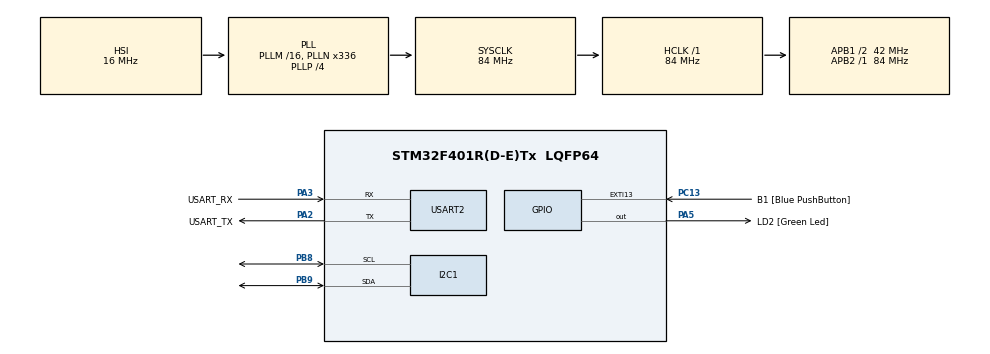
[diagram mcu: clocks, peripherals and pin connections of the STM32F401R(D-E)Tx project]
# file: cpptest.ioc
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Mcu.Family=STM32F4
Mcu.Name=STM32F401R(D-E)Tx
Mcu.Package=LQFP64
NVIC.PriorityGroup=NVIC_PRIORITYGROUP_0
PA13.GPIO_Label=TMS
PA13.Mode=Serial_Wire
PA13.Signal=SYS_JTMS-SWDIO
PA14.GPIO_Label=TCK
PA14.Mode=Serial_Wire
PA14.Signal=SYS_JTCK-SWCLK
PA2.GPIO_Label=USART_TX
PA2.GPIO_Mode=GPIO_MODE_AF_PP
PA2.GPIO_PuPd=GPIO_NOPULL
PA2.GPIO_Speed=GPIO_SPEED_FREQ_LOW
PA2.Mode=Asynchronous
PA2.Signal=USART2_TX
PA3.GPIO_Label=USART_RX
PA3.GPIO_Mode=GPIO_MODE_AF_PP
PA3.GPIO_PuPd=GPIO_NOPULL
PA3.GPIO_Speed=GPIO_SPEED_FREQ_LOW
PA3.Mode=Asynchronous
PA3.Signal=USART2_RX
PA5.GPIO_Label=LD2 [Green Led]
PA5.GPIO_Mode=GPIO_MODE_OUTPUT_PP
PA5.GPIO_PuPd=GPIO_NOPULL
PA5.GPIO_Speed=GPIO_SPEED_FREQ_LOW
PA5.Signal=GPIO_Output
PB3.GPIO_Label=SWO
PB3.Signal=SYS_JTDO-SWO
PB8.Mode=I2C
PB8.Signal=I2C1_SCL
PB9.Mode=I2C
PB9.Signal=I2C1_SDA
PC13-ANTI_TAMP.GPIO_Label=B1 [Blue PushButton]
PC13-ANTI_TAMP.GPIO_ModeDefaultEXTI=GPIO_MODE_IT_FALLING
PC13-ANTI_TAMP.GPIO_PuPd=GPIO_NOPULL
PC13-ANTI_TAMP.Signal=GPXTI13
PC14-OSC32_IN.Mode=LSE-External-Oscillator
PC14-OSC32_IN.Signal=RCC_OSC32_IN
PC15-OSC32_OUT.Mode=LSE-External-Oscillator
PC15-OSC32_OUT.Signal=RCC_OSC32_OUT
PH0\ -\ OSC_IN.Mode=HSE-External-Clock-Source
PH0\ -\ OSC_IN.Signal=RCC_OSC_IN
PH1\ -\ OSC_OUT.Mode=HSE-External-Clock-Source
PH1\ -\ OSC_OUT.Signal=RCC_OSC_OUT
ProjectManager.HeapSize=0x200
ProjectManager.StackSize=0x400
ProjectManager.TargetToolchain=STM32CubeIDE
RCC.48MHZClocksFreq_Value=48000000
RCC.AHBFreq_Value=84000000
RCC.APB1CLKDivider=RCC_HCLK_DIV2
RCC.APB1Freq_Value=42000000
RCC.APB1TimFreq_Value=84000000
RCC.APB2Freq_Value=84000000
RCC.APB2TimFreq_Value=84000000
RCC.CortexFreq_Value=84000000
RCC.HCLKFreq_Value=84000000
RCC.HSE_VALUE=8000000
RCC.HSI_VALUE=16000000
RCC.PLLN=336
RCC.PLLP=RCC_PLLP_DIV4
RCC.PLLQ=7
RCC.SYSCLKFreq_VALUE=84000000
RCC.SYSCLKSource=RCC_SYSCLKSOURCE_PLLCLK
RCC.VCOOutputFreq_Value=336000000
USART2.VirtualMode=VM_ASYNC
board=NUCLEO-F401RE

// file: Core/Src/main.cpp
/* USER CODE BEGIN Header */
/**
  ******************************************************************************
  * @file           : main.c
  * @brief          : Main program body
  ******************************************************************************
  * @attention
  *
  * <h2><center>&copy; Copyright (c) 2020 STMicroelectronics.
  * All rights reserved.</center></h2>
  *
  * This software component is licensed by ST under BSD 3-Clause license,
  * the "License"; You may not use this file except in compliance with the
  * License. You may obtain a copy of the License at:
  *                        opensource.org/licenses/BSD-3-Clause
  *
  ******************************************************************************
  */
/* USER CODE END Header */

#include "main.h"

/* USER CODE BEGIN Includes */
#include "ads1115.h"
#include "I2C.h"
#include <stdio.h> //printf
#include "retarget.h"
/* USER CODE END Includes */

I2C_HandleTypeDef hi2c1;

UART_HandleTypeDef huart2;

/* USER CODE BEGIN PV */
int nLoop=0;
/* USER CODE END PV */

void SystemClock_Config(void);
static void MX_GPIO_Init(void);
static void MX_USART2_UART_Init(void);
static void MX_I2C1_Init(void);

/* USER CODE BEGIN 0 */
//Printf function
/*
int _write(int fd, char *data, int len) {
	HAL_UART_Transmit(&huart2, (uint8_t *) data, len, 0xffff);
    return len;
}
*/

/* USER CODE END 0 */

int main(void)
{

  /* MCU Configuration--------------------------------------------------------*/

  /* Reset of all peripherals, Initializes the Flash interface and the Systick. */
  HAL_Init();

  /* Configure the system clock */
  SystemClock_Config();

  /* Initialize all configured peripherals */
  MX_GPIO_Init();
  MX_USART2_UART_Init();
  MX_I2C1_Init();
  /* USER CODE BEGIN 2 */
  //RetargetInit(&huart2);
  //INITIALIZE I2C PROTOCOL
  I2C i2c;
  i2c.I2C_Init(&hi2c1);

  ads1115 ads;
  adsConfig ch1, ch2, ch3, ch4;

  ch1.COMP_MODE = CONVNONE;
  ch1.GAIN_MODE = PGA4;
  ch1.OP_MODE = CONTMOD;
  ch1.OS_MODE = BEGIN;
  ch1.RATE_MODE = SPS32;

  //ads.ads1115_data(1,ch1);
  /* USER CODE END 2 */

  /* Infinite loop */
  /* USER CODE BEGIN WHILE */
  while (1)
  {
	 /* float FS = 1.024;
	  std::cout << "main function\n";
	  uint16_t out1 = ads.ads1115_data(1,ch1);
	  float S1 = out1;
	  float acmpt = FS/S1;
	  printf("%E mV", acmpt * 1000);
	  printf("\r\n");*/

	  //printf ("Characters: %c %c \n", 'a', 65);

	  uint16_t out1;
	  out1 = ads.ads1115_data(1,ch1);

	  float FS = 1.024;
	  float ch0 = out1;
	  float read0 = FS/ch0;

	    //HAL_GPIO_TogglePin(GPIOA, GPIO_PIN_5); // PORTA, Pin PA5
	    //HAL_Delay(500);
	    nLoop++;
	    printf("nLoop == %d \n\r", nLoop);

	  HAL_Delay(1000);
    /* USER CODE END WHILE */

  }
}

void SystemClock_Config(void)
{
  RCC_OscInitTypeDef RCC_OscInitStruct = {0};
  RCC_ClkInitTypeDef RCC_ClkInitStruct = {0};

  /** Configure the main internal regulator output voltage
  */
  __HAL_RCC_PWR_CLK_ENABLE();
  __HAL_PWR_VOLTAGESCALING_CONFIG(PWR_REGULATOR_VOLTAGE_SCALE2);
  /** Initializes the CPU, AHB and APB busses clocks
  */
  RCC_OscInitStruct.OscillatorType = RCC_OSCILLATORTYPE_HSI;
  RCC_OscInitStruct.HSIState = RCC_HSI_ON;
  RCC_OscInitStruct.HSICalibrationValue = RCC_HSICALIBRATION_DEFAULT;
  RCC_OscInitStruct.PLL.PLLState = RCC_PLL_ON;
  RCC_OscInitStruct.PLL.PLLSource = RCC_PLLSOURCE_HSI;
  RCC_OscInitStruct.PLL.PLLM = 16;
  RCC_OscInitStruct.PLL.PLLN = 336;
  RCC_OscInitStruct.PLL.PLLP = RCC_PLLP_DIV4;
  RCC_OscInitStruct.PLL.PLLQ = 7;
  if (HAL_RCC_OscConfig(&RCC_OscInitStruct) != HAL_OK)
  {
    Error_Handler();
  }
  /** Initializes the CPU, AHB and APB busses clocks
  */
  RCC_ClkInitStruct.ClockType = RCC_CLOCKTYPE_HCLK|RCC_CLOCKTYPE_SYSCLK
                              |RCC_CLOCKTYPE_PCLK1|RCC_CLOCKTYPE_PCLK2;
  RCC_ClkInitStruct.SYSCLKSource = RCC_SYSCLKSOURCE_PLLCLK;
  RCC_ClkInitStruct.AHBCLKDivider = RCC_SYSCLK_DIV1;
  RCC_ClkInitStruct.APB1CLKDivider = RCC_HCLK_DIV2;
  RCC_ClkInitStruct.APB2CLKDivider = RCC_HCLK_DIV1;

  if (HAL_RCC_ClockConfig(&RCC_ClkInitStruct, FLASH_LATENCY_2) != HAL_OK)
  {
    Error_Handler();
  }
}

static void MX_I2C1_Init(void)
{

  hi2c1.Instance = I2C1;
  hi2c1.Init.ClockSpeed = 100000;
  hi2c1.Init.DutyCycle = I2C_DUTYCYCLE_2;
  hi2c1.Init.OwnAddress1 = 0;
  hi2c1.Init.AddressingMode = I2C_ADDRESSINGMODE_7BIT;
  hi2c1.Init.DualAddressMode = I2C_DUALADDRESS_DISABLE;
  hi2c1.Init.OwnAddress2 = 0;
  hi2c1.Init.GeneralCallMode = I2C_GENERALCALL_DISABLE;
  hi2c1.Init.NoStretchMode = I2C_NOSTRETCH_DISABLE;
  if (HAL_I2C_Init(&hi2c1) != HAL_OK)
  {
    Error_Handler();
  }

}

static void MX_USART2_UART_Init(void)
{

  huart2.Instance = USART2;
  huart2.Init.BaudRate = 115200;
  huart2.Init.WordLength = UART_WORDLENGTH_8B;
  huart2.Init.StopBits = UART_STOPBITS_1;
  huart2.Init.Parity = UART_PARITY_NONE;
  huart2.Init.Mode = UART_MODE_TX_RX;
  huart2.Init.HwFlowCtl = UART_HWCONTROL_NONE;
  huart2.Init.OverSampling = UART_OVERSAMPLING_16;
  if (HAL_UART_Init(&huart2) != HAL_OK)
  {
    Error_Handler();
  }

}

static void MX_GPIO_Init(void)
{
  GPIO_InitTypeDef GPIO_InitStruct = {0};

  /* GPIO Ports Clock Enable */
  __HAL_RCC_GPIOC_CLK_ENABLE();
  __HAL_RCC_GPIOH_CLK_ENABLE();
  __HAL_RCC_GPIOA_CLK_ENABLE();
  __HAL_RCC_GPIOB_CLK_ENABLE();

  /*Configure GPIO pin Output Level */
  HAL_GPIO_WritePin(LD2_GPIO_Port, LD2_Pin, GPIO_PIN_RESET);

  /*Configure GPIO pin : B1_Pin */
  GPIO_InitStruct.Pin = B1_Pin;
  GPIO_InitStruct.Mode = GPIO_MODE_IT_FALLING;
  GPIO_InitStruct.Pull = GPIO_NOPULL;
  HAL_GPIO_Init(B1_GPIO_Port, &GPIO_InitStruct);

  /*Configure GPIO pin : LD2_Pin */
  GPIO_InitStruct.Pin = LD2_Pin;
  GPIO_InitStruct.Mode = GPIO_MODE_OUTPUT_PP;
  GPIO_InitStruct.Pull = GPIO_NOPULL;
  GPIO_InitStruct.Speed = GPIO_SPEED_FREQ_LOW;
  HAL_GPIO_Init(LD2_GPIO_Port, &GPIO_InitStruct);

}

/* USER CODE BEGIN 4 */
int __io_putchar(int ch)
{
 uint8_t c[1];
 c[0] = ch & 0x00FF;
 HAL_UART_Transmit(&huart2, &*c, 1, 10);
 return ch;
}

int _write(int file,char *ptr, int len)
{
 int DataIdx;
 for(DataIdx= 0; DataIdx< len; DataIdx++)
 {
 __io_putchar(*ptr++);
 }
return len;
}
/* USER CODE END 4 */

void Error_Handler(void)
{
}

/************************ (C) COPYRIGHT STMicroelectronics *****END OF FILE****/
